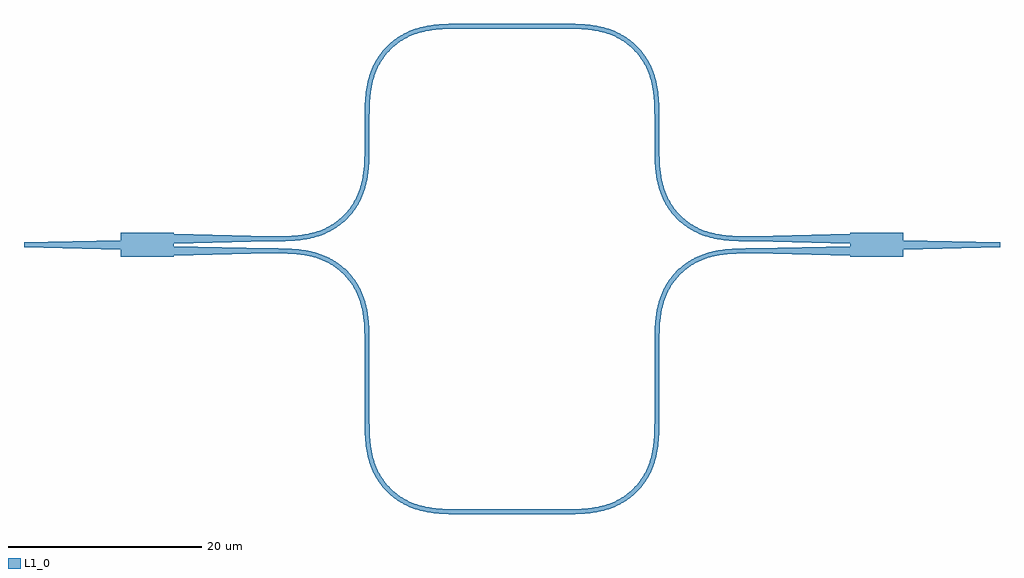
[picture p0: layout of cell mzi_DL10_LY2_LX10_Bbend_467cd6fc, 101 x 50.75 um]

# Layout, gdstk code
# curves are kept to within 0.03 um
from math import pi, radians
import gdstk
lib = gdstk.Library(unit=1e-6, precision=1e-09)
def R(c, l, rs):  # rectangles x0, y0, x1, y1
    for r in rs: c.add(gdstk.rectangle(r[:2], r[2:], *l))
def P(c, l, *ps):  # polygons
    for p in ps: c.add(gdstk.Polygon(p, *l))
L1_0 = (1, 0)

mmi1x2_wnone_wt1_lt10_l_ = lib.new_cell('mmi1x2_WNone_WT1_LT10_L_4e0f7121')
P(mmi1x2_wnone_wt1_lt10_l_, L1_0, [(0,-1.25),(0,-0.5),(-10,-0.25),(-10,0.25),(0,0.5),(0,1.25),(5.5,1.25),(5.5,1.125),(15.5,0.875),(15.5,0.375),(5.5,0.125),(5.5,-0.125),(15.5,-0.375),(15.5,-0.875),(5.5,-1.125),(5.5,-1.25)])

bend_euler_rnone_a90_p0_ = lib.new_cell('bend_euler_RNone_A90_P0_d7c3a5a9')
P(bend_euler_rnone_a90_p0_, L1_0, [(0,-0.25),(0,0.25),(1.655,0.269),(2.881,0.353),(3.952,0.52),(4.99,0.806),(5.731,1.113),(6.431,1.505),(7.079,1.976),(7.575,2.425),(8.024,2.921),(8.495,3.569),(8.887,4.269),(9.194,5.01),(9.48,6.048),(9.647,7.119),(9.731,8.345),(9.75,10),(10.25,10),(10.235,8.468),(10.158,7.205),(10.023,6.224),(9.797,5.254),(9.457,4.312),(9.066,3.545),(8.5,2.715),(7.928,2.072),(7.285,1.5),(6.455,0.934),(5.688,0.543),(4.746,0.203),(3.776,-0.023),(2.795,-0.158),(1.532,-0.235)])

straight_l2_n2_csstrip_w = lib.new_cell('straight_L2_N2_CSstrip_WNone')
R(straight_l2_n2_csstrip_w, L1_0, [(0,-0.25,2,0.25)])

straight_l7_n2_csstrip_w = lib.new_cell('straight_L7_N2_CSstrip_WNone')
R(straight_l7_n2_csstrip_w, L1_0, [(0,-0.25,7,0.25)])

straight_l10_n2_csstrip_ = lib.new_cell('straight_L10_N2_CSstrip_WNone')
R(straight_l10_n2_csstrip_, L1_0, [(0,-0.25,10,0.25)])

mzi_dl10_ly2_lx10_bbend_ = lib.new_cell('mzi_DL10_LY2_LX10_Bbend_467cd6fc')
mzi_dl10_ly2_lx10_bbend_.add(gdstk.Reference(mmi1x2_wnone_wt1_lt10_l_, (0,0)))
mzi_dl10_ly2_lx10_bbend_.add(gdstk.Reference(bend_euler_rnone_a90_p0_, (15.5,-0.625), x_reflection=True))
mzi_dl10_ly2_lx10_bbend_.add(gdstk.Reference(bend_euler_rnone_a90_p0_, (25.5,-17.625), rotation=3*pi/2))
mzi_dl10_ly2_lx10_bbend_.add(gdstk.Reference(bend_euler_rnone_a90_p0_, (15.5,0.625)))
mzi_dl10_ly2_lx10_bbend_.add(gdstk.Reference(bend_euler_rnone_a90_p0_, (35.5,22.625), rotation=pi))
mzi_dl10_ly2_lx10_bbend_.add(gdstk.Reference(bend_euler_rnone_a90_p0_, (55.5,12.625), rotation=pi/2))
mzi_dl10_ly2_lx10_bbend_.add(gdstk.Reference(bend_euler_rnone_a90_p0_, (55.5,10.625), rotation=3*pi/2))
mzi_dl10_ly2_lx10_bbend_.add(gdstk.Reference(bend_euler_rnone_a90_p0_, (45.5,-27.625)))
mzi_dl10_ly2_lx10_bbend_.add(gdstk.Reference(bend_euler_rnone_a90_p0_, (65.5,-0.625), rotation=pi))
mzi_dl10_ly2_lx10_bbend_.add(gdstk.Reference(straight_l2_n2_csstrip_w, (25.5,10.625), rotation=pi/2))
mzi_dl10_ly2_lx10_bbend_.add(gdstk.Reference(straight_l7_n2_csstrip_w, (25.5,-10.625), rotation=3*pi/2))
mzi_dl10_ly2_lx10_bbend_.add(gdstk.Reference(straight_l10_n2_csstrip_, (35.5,22.625)))
mzi_dl10_ly2_lx10_bbend_.add(gdstk.Reference(straight_l10_n2_csstrip_, (35.5,-27.625)))
mzi_dl10_ly2_lx10_bbend_.add(gdstk.Reference(mmi1x2_wnone_wt1_lt10_l_, (81,0), rotation=pi, x_reflection=True))
mzi_dl10_ly2_lx10_bbend_.add(gdstk.Reference(straight_l2_n2_csstrip_w, (55.5,10.625), rotation=pi/2))
mzi_dl10_ly2_lx10_bbend_.add(gdstk.Reference(straight_l7_n2_csstrip_w, (55.5,-17.625), rotation=pi/2))

lib.write_gds('mzi_DL10_LY2_LX10_Bbend_467cd6fc.gds')
